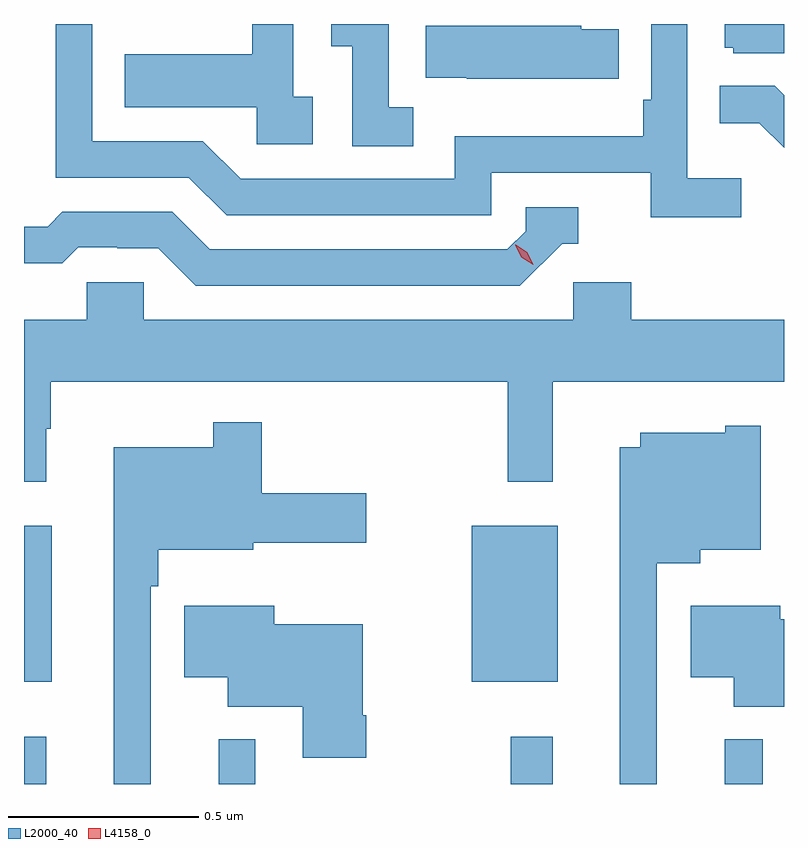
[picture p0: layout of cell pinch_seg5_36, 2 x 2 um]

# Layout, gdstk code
import gdstk
lib = gdstk.Library(unit=1e-6, precision=1e-09)
def R(c, l, rs):  # rectangles x0, y0, x1, y1
    for r in rs: c.add(gdstk.rectangle(r[:2], r[2:], *l))
def P(c, l, *ps):  # polygons
    for p in ps: c.add(gdstk.Polygon(p, *l))
L2000_40 = (2000, 40)
L4158_0 = (4158, 0)

pinch_seg5_36 = lib.new_cell('pinch_seg5_36')
R(pinch_seg5_36, L2000_40, [(1109.886,907.65,1109.945,907.774), (1110.398,907.65,1110.495,907.768), (1111.167,907.65,1111.277,907.774), (1111.73,907.65,1111.83,907.768), (1109.886,907.919,1109.959,908.329), (1111.064,907.919,1111.291,908.329)])
P(pinch_seg5_36, L2000_40, [(1110.646,909.458),(1110.594,909.458),(1110.594,909.65),(1110.486,909.65),(1110.486,909.571),(1110.151,909.571),(1110.151,909.431),(1110.498,909.431),(1110.498,909.333),(1110.646,909.333)],
  [(1111.886,909.65),(1111.73,909.65),(1111.73,909.588),(1111.752,909.588),(1111.752,909.573),(1111.886,909.573)],
  [(1110.91,909.431),(1110.846,909.431),(1110.846,909.65),(1110.695,909.65),(1110.695,909.592),(1110.75,909.592),(1110.75,909.328),(1110.91,909.328)],
  [(1111.774,909.244),(1111.632,909.244),(1111.632,909.65),(1111.536,909.65),(1111.536,909.451),(1111.516,909.451),(1111.516,909.355),(1111.02,909.355),(1111.02,909.243),(1110.456,909.243),(1110.357,909.342),(1110.066,909.342),(1110.066,909.65),(1109.97,909.65),(1109.97,909.246),(1110.32,909.246),(1110.419,909.147),(1111.116,909.147),(1111.116,909.258),(1111.535,909.258),(1111.535,909.142),(1111.774,909.142)],
  [(1111.451,909.636),(1111.353,909.636),(1111.353,909.646),(1110.943,909.646),(1110.943,909.509),(1111.051,909.509),(1111.051,909.506),(1111.451,909.506)],
  [(1111.886,909.463),(1111.861,909.488),(1111.717,909.488),(1111.717,909.389),(1111.821,909.389),(1111.886,909.324)],
  [(1111.302,909.072),(1111.345,909.072),(1111.345,909.168),(1111.206,909.168),(1111.206,909.105),(1111.158,909.057),(1110.375,909.057),(1110.276,909.156),(1109.987,909.156),(1109.948,909.117),(1109.886,909.117),(1109.886,909.021),(1109.987,909.021),(1110.029,909.063),(1110.132,909.063),(1110.132,909.06),(1110.239,909.06),(1110.338,908.961),(1111.191,908.961)],
  [(1109.944,908.585),(1109.956,908.585),(1109.956,908.708),(1111.159,908.708),(1111.159,908.445),(1111.278,908.445),(1111.278,908.708),(1111.886,908.708),(1111.886,908.872),(1111.484,908.872),(1111.484,908.97),(1111.332,908.97),(1111.332,908.872),(1110.201,908.872),(1110.201,908.97),(1110.051,908.97),(1110.051,908.872),(1109.886,908.872),(1109.886,908.445),(1109.944,908.445)],
  [(1110.219,908.171),(1110.239,908.171),(1110.239,908.267),(1110.489,908.267),(1110.489,908.285),(1110.787,908.285),(1110.787,908.415),(1110.512,908.415),(1110.512,908.602),(1110.384,908.602),(1110.384,908.536),(1110.122,908.536),(1110.122,907.65),(1110.219,907.65)],
  [(1111.551,908.231),(1111.666,908.231),(1111.666,908.267),(1111.825,908.267),(1111.825,908.593),(1111.731,908.593),(1111.731,908.575),(1111.508,908.575),(1111.508,908.536),(1111.454,908.536),(1111.454,907.65),(1111.551,907.65)],
  [(1111.886,908.084),(1111.876,908.084),(1111.876,908.119),(1111.64,908.119),(1111.64,907.931),(1111.754,907.931),(1111.754,907.853),(1111.886,907.853)],
  [(1110.786,907.831),(1110.778,907.831),(1110.778,908.071),(1110.544,908.071),(1110.544,908.119),(1110.308,908.119),(1110.308,907.931),(1110.422,907.931),(1110.422,907.853),(1110.62,907.853),(1110.62,907.719),(1110.786,907.719)])
P(pinch_seg5_36, L4158_0, [(1111.226,909.016),(1111.195,909.036),(1111.179,909.068),(1111.179,909.069),(1111.18,909.069),(1111.21,909.049),(1111.226,909.016),(1111.226,909.016)])

lib.write_gds('pinch_seg5_36.gds')
